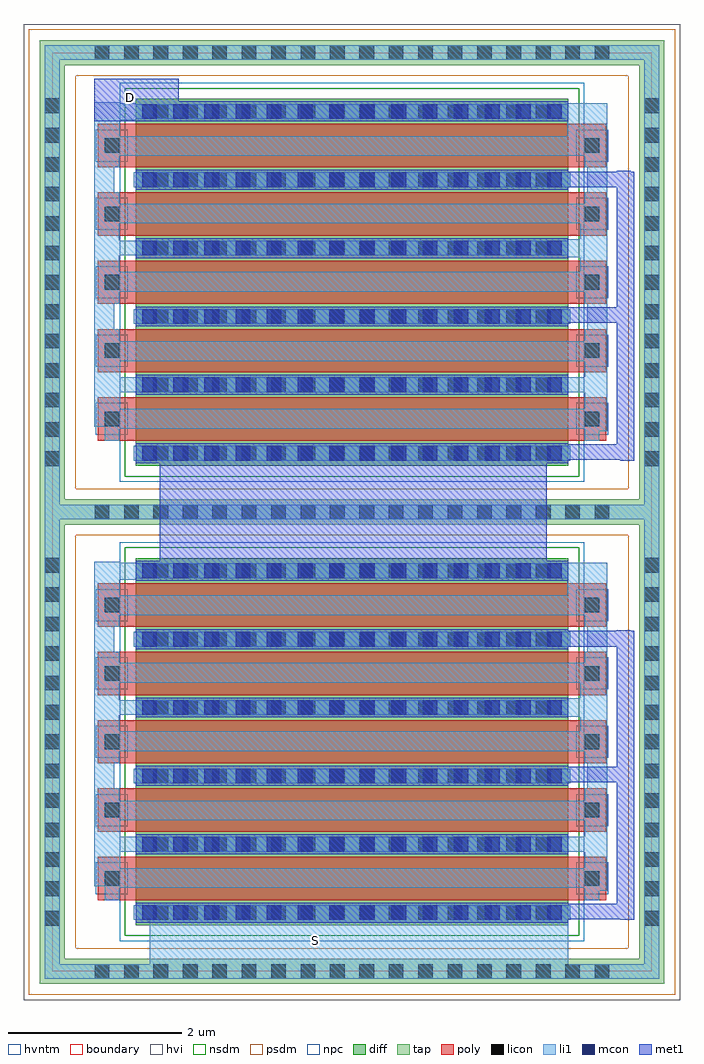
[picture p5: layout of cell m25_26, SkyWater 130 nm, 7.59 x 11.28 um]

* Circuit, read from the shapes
.subckt m25_26 D S
XM1 n1 n1 S S sky130_fd_pr__nfet_g5v0d10v5 w=5 l=0.5 m=5
XM2 D D n1 S sky130_fd_pr__nfet_g5v0d10v5 w=5 l=0.5 m=5
.ends

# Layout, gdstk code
from math import pi, radians
import gdstk
lib = gdstk.Library(unit=1e-6, precision=1e-09)
def R(c, l, rs):  # rectangles x0, y0, x1, y1
    for r in rs: c.add(gdstk.rectangle(r[:2], r[2:], *l))
def A(c, l, x, y, w, h, nx, ny, dx, dy):  # array of equal rectangles
    R(c, l, [(x+i*dx, y+j*dy, x+i*dx+w, y+j*dy+h) for i in range(nx) for j in range(ny)])
diff = (65, 20)
tap = (65, 44)
poly = (66, 20)
licon = (66, 44)
li1 = (67, 20)
mcon = (67, 44)
met1 = (68, 20)
hvi = (75, 20)
nsdm = (93, 44)
psdm = (94, 20)
npc = (95, 20)
hvntm = (125, 20)
boundary = (235, 4)

sky130_fd_pr__nfet_g5v0d = lib.new_cell('sky130_fd_pr__nfet_g5v0d10v5_CMNTPV')
R(sky130_fd_pr__nfet_g5v0d, diff, [(-2.12,-2.5,2.12,2.5)])
R(sky130_fd_pr__nfet_g5v0d, tap, [(-2.8,-3.61,2.8,-3.32), (-2.8,-3.32,-2.51,3.32), (2.51,-3.32,2.8,3.32), (-2.8,3.32,2.8,3.61)])
A(sky130_fd_pr__nfet_g5v0d, poly, -1.83, -2.94, 0.5, 5.88, 5, 1, 0.79, 0)
A(sky130_fd_pr__nfet_g5v0d, licon, -2.125, -3.55, 0.17, 0.17, 13, 2, 0.34, 6.93)
A(sky130_fd_pr__nfet_g5v0d, licon, -2.74, -2.975, 0.17, 0.17, 1, 18, 0, 0.34)
A(sky130_fd_pr__nfet_g5v0d, licon, 2.57, -2.975, 0.17, 0.17, 1, 18, 0, 0.34)
A(sky130_fd_pr__nfet_g5v0d, licon, -1.665, -2.86, 0.17, 0.17, 5, 2, 0.79, 5.55)
A(sky130_fd_pr__nfet_g5v0d, licon, -2.06, -2.295, 0.17, 0.17, 6, 14, 0.79, 0.34)
A(sky130_fd_pr__nfet_g5v0d, li1, -1.27, -2.52, 0.17, 5.04, 3, 1, 1.58, 0)
R(sky130_fd_pr__nfet_g5v0d, li1, [(-2.74,-3.55,2.74,-3.38), (-2.74,-3.38,-2.57,3.38), (2.57,-3.38,2.74,3.38), (-2.08,-2.98,1.67,-2.86), (-2.08,-2.86,1.83,-2.75), (-2.08,-2.75,-1.33,-2.69), (-1.04,-2.75,0.25,-2.69), (0.54,-2.75,1.83,-2.69), (-2.08,-2.69,-1.46,-2.685), (-0.91,-2.69,-0.68,2.64), (-0.48,-2.69,-0.31,2.49), (-0.12,-2.69,0.11,2.64), (0.68,-2.69,1.69,-2.68), (-2.07,-2.685,-1.87,-2.5), (-1.69,-2.685,-1.46,2.49), (0.68,-2.68,0.91,2.69), (1.1,-2.68,1.27,2.69), (1.46,-2.68,1.69,2.69), (-2.06,-2.5,-1.89,2.49), (-2.07,2.49,-1.46,2.69), (-0.5,2.49,-0.29,2.64), (-0.91,2.64,0.11,2.69), (-2.07,2.69,-1.33,2.72), (-1.04,2.69,0.25,2.72), (0.54,2.69,1.83,2.72), (-2.07,2.72,1.83,2.86), (-2.07,2.86,1.72,2.95), (-2.74,3.38,2.74,3.55)])
A(sky130_fd_pr__nfet_g5v0d, mcon, -2.06, -2.425, 0.17, 0.17, 6, 14, 0.79, 0.36)
A(sky130_fd_pr__nfet_g5v0d, met1, -2.09, -2.5, 0.23, 5, 6, 1, 0.79, 0)
R(sky130_fd_pr__nfet_g5v0d, met1, [(-1.28,2.5,-1.1,3.06), (0.29,2.5,0.47,3.06), (1.87,2.5,2.05,3.06), (-1.29,3.06,2.05,3.1), (-1.29,3.1,2.06,3.22), (-1.28,3.22,2.06,3.26)])
R(sky130_fd_pr__nfet_g5v0d, hvi, [(-2.985,-3.795,2.985,3.795)])
R(sky130_fd_pr__nfet_g5v0d, nsdm, [(-2.245,-2.625,2.245,2.625)])
R(sky130_fd_pr__nfet_g5v0d, psdm, [(-2.925,-3.735,2.925,-3.195), (-2.925,-3.195,-2.385,3.195), (2.385,-3.195,2.925,3.195), (-2.925,3.195,2.925,3.735)])
A(sky130_fd_pr__nfet_g5v0d, npc, -1.765, -2.96, 0.37, 0.37, 5, 2, 0.79, 5.55)
R(sky130_fd_pr__nfet_g5v0d, hvntm, [(-2.305,-2.685,2.305,2.685)])
R(sky130_fd_pr__nfet_g5v0d, boundary, [(-2.655,-3.465,2.655,3.465)])

m25_26 = lib.new_cell('m25_26')
R(m25_26, li1, [(0.68,0.49,5.52,1.21)])
R(m25_26, met1, [(0.8,5.14,5.27,6.54), (0.04,10.35,1.02,10.84)])
m25_26.add(gdstk.Reference(sky130_fd_pr__nfet_g5v0d, (3.02,8.49), rotation=3*pi/2))
m25_26.add(gdstk.Reference(sky130_fd_pr__nfet_g5v0d, (3.02,3.18), rotation=3*pi/2))
m25_26.add(gdstk.Label('S', (2.6,0.88), layer=67, texttype=5))
m25_26.add(gdstk.Label('D', (0.46,10.62), layer=68, texttype=5))

lib.write_gds('m25_26.gds')
